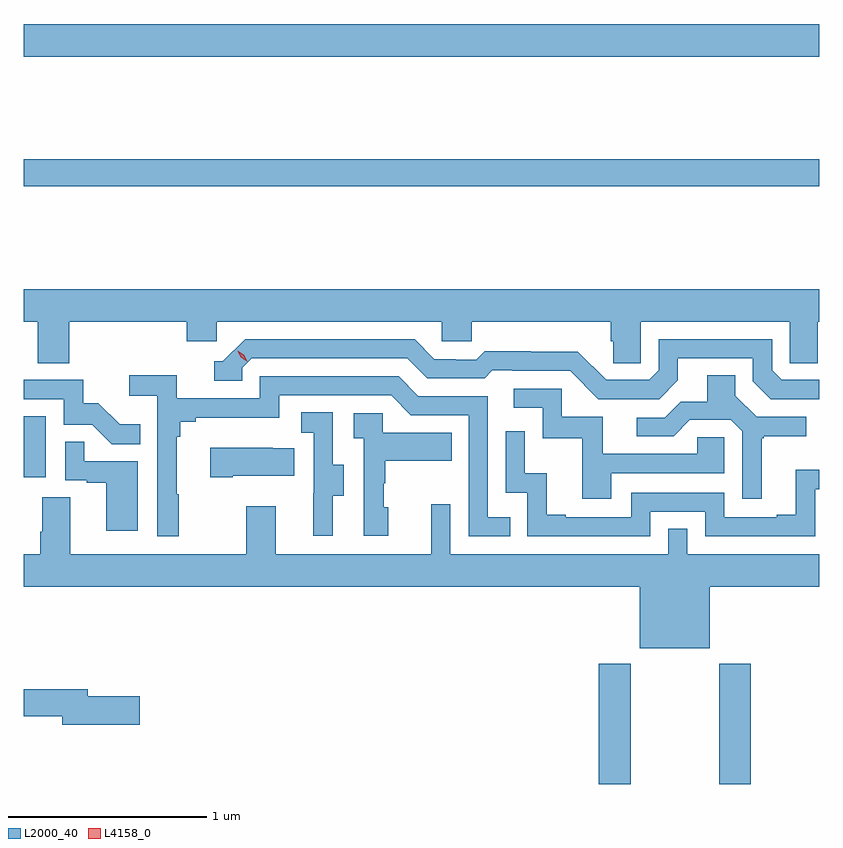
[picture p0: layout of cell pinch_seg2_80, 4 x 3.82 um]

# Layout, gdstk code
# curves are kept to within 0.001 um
import gdstk
lib = gdstk.Library(unit=1e-6, precision=1e-09)
def R(c, l, rs):  # rectangles x0, y0, x1, y1
    for r in rs: c.add(gdstk.rectangle(r[:2], r[2:], *l))
def P(c, l, *ps):  # polygons
    for p in ps: c.add(gdstk.Polygon(p, *l))
L2000_40 = (2000, 40)
L4158_0 = (4158, 0)

pinch_seg2_80 = lib.new_cell('pinch_seg2_80')
R(pinch_seg2_80, L2000_40, [(1073.357,647.976,1073.517,648.58), (1073.962,647.976,1074.122,648.58), (1070.466,649.518,1070.578,649.825), (1070.466,650.98,1074.466,651.116), (1070.466,651.632,1074.466,651.796)])
P(pinch_seg2_80, L2000_40, [(1070.696,650.3),(1071.287,650.3),(1071.287,650.202),(1071.438,650.202),(1071.438,650.3),(1072.569,650.3),(1072.569,650.202),(1072.719,650.202),(1072.719,650.3),(1073.417,650.3),(1073.417,650.202),(1073.431,650.202),(1073.431,650.092),(1073.568,650.092),(1073.568,650.3),(1074.318,650.3),(1074.318,650.092),(1074.457,650.092),(1074.457,650.3),(1074.466,650.3),(1074.466,650.464),(1070.466,650.464),(1070.466,650.3),(1070.536,650.3),(1070.536,650.092),(1070.696,650.092)],
  [(1074.466,650.007),(1074.276,650.007),(1074.228,650.055),(1074.228,650.211),(1073.658,650.211),(1073.658,650.055),(1073.61,650.007),(1073.394,650.007),(1073.252,650.149),(1073.016,650.149),(1073.016,650.152),(1072.783,650.152),(1072.741,650.109),(1072.638,650.109),(1072.638,650.112),(1072.531,650.112),(1072.432,650.211),(1071.579,650.211),(1071.468,650.1),(1071.425,650.1),(1071.425,650.004),(1071.564,650.004),(1071.564,650.067),(1071.612,650.115),(1072.395,650.115),(1072.494,650.016),(1072.783,650.016),(1072.822,650.055),(1072.921,650.055),(1072.921,650.052),(1073.214,650.052),(1073.355,649.911),(1073.661,649.911),(1073.755,650.005),(1073.755,650.115),(1074.132,650.115),(1074.132,650.001),(1074.222,649.911),(1074.466,649.91)],
  [(1074.175,649.713),(1074.187,649.713),(1074.187,649.724),(1074.4,649.724),(1074.4,649.821),(1074.15,649.821),(1074.043,649.928),(1074.043,650.03),(1073.903,650.03),(1073.903,649.898),(1073.768,649.898),(1073.688,649.818),(1073.547,649.818),(1073.547,649.725),(1073.734,649.725),(1073.815,649.806),(1074.021,649.806),(1074.078,649.749),(1074.078,649.41),(1074.175,649.41)],
  [(1071.247,649.433),(1071.235,649.433),(1071.235,649.721),(1071.254,649.721),(1071.254,649.798),(1071.331,649.798),(1071.331,649.817),(1071.75,649.817),(1071.75,649.929),(1072.314,649.929),(1072.413,649.83),(1072.704,649.83),(1072.704,649.221),(1072.913,649.221),(1072.913,649.317),(1072.8,649.317),(1072.8,649.926),(1072.45,649.926),(1072.351,650.025),(1071.654,650.025),(1071.654,649.914),(1071.236,649.914),(1071.236,650.03),(1070.997,650.03),(1070.997,649.928),(1071.138,649.928),(1071.138,649.221),(1071.247,649.221)],
  [(1071.053,649.783),(1070.949,649.783),(1070.842,649.89),(1070.766,649.89),(1070.766,650.007),(1070.466,650.007),(1070.466,649.911),(1070.667,649.911),(1070.667,649.782),(1070.811,649.782),(1070.909,649.684),(1071.053,649.684)],
  [(1073.419,649.539),(1073.988,649.539),(1073.988,649.719),(1073.851,649.719),(1073.851,649.635),(1073.377,649.635),(1073.377,649.821),(1073.172,649.821),(1073.172,649.962),(1072.929,649.962),(1072.929,649.866),(1073.076,649.866),(1073.076,649.713),(1073.275,649.713),(1073.275,649.41),(1073.419,649.41)],
  [(1072.021,649.426),(1072.075,649.426),(1072.075,649.581),(1072.02,649.581),(1072.02,649.844),(1071.861,649.844),(1071.861,649.741),(1071.924,649.741),(1071.924,649.437),(1071.923,649.437),(1071.923,649.224),(1072.021,649.224)],
  [(1072.3,649.368),(1072.275,649.368),(1072.275,649.487),(1072.285,649.487),(1072.285,649.601),(1072.619,649.601),(1072.619,649.741),(1072.272,649.741),(1072.272,649.839),(1072.125,649.839),(1072.125,649.715),(1072.176,649.715),(1072.176,649.224),(1072.3,649.224)],
  [(1073.616,649.344),(1073.892,649.344),(1073.892,649.221),(1074.444,649.221),(1074.444,649.457),(1074.466,649.457),(1074.466,649.555),(1074.347,649.555),(1074.347,649.33),(1074.251,649.33),(1074.251,649.317),(1073.988,649.317),(1073.988,649.44),(1073.52,649.44),(1073.52,649.317),(1073.191,649.317),(1073.191,649.33),(1073.096,649.33),(1073.096,649.538),(1072.986,649.538),(1072.986,649.75),(1072.89,649.75),(1072.89,649.44),(1072.998,649.44),(1072.998,649.221),(1073.616,649.221)],
  [(1071.04,649.599),(1070.771,649.599),(1070.771,649.697),(1070.676,649.697),(1070.676,649.503),(1070.783,649.503),(1070.783,649.491),(1070.882,649.491),(1070.882,649.248),(1071.04,649.248)],
  [(1071.517,649.526),(1071.827,649.526),(1071.827,649.663),(1071.719,649.663),(1071.719,649.666),(1071.405,649.666),(1071.405,649.519),(1071.517,649.519)],
  [(1073.914,648.968),(1074.466,648.968),(1074.466,649.132),(1073.802,649.132),(1073.802,649.259),(1073.706,649.259),(1073.706,649.132),(1072.611,649.132),(1072.611,649.381),(1072.514,649.381),(1072.514,649.132),(1071.733,649.132),(1071.733,649.372),(1071.586,649.372),(1071.586,649.132),(1070.701,649.132),(1070.701,649.418),(1070.561,649.418),(1070.561,649.244),(1070.549,649.244),(1070.549,649.132),(1070.466,649.132),(1070.466,648.968),(1073.564,648.968),(1073.564,648.659),(1073.914,648.659)],
  [(1071.049,648.416),(1070.788,648.416),(1070.788,648.452),(1070.466,648.452),(1070.466,648.316),(1070.66,648.316),(1070.66,648.274),(1071.049,648.274)])
P(pinch_seg2_80, L4158_0, [(1071.588,650.101),(1071.558,650.121),(1071.542,650.154),(1071.542,650.154),(1071.542,650.154),(1071.573,650.134),(1071.589,650.101),(1071.589,650.101)])

lib.write_gds('pinch_seg2_80.gds')
